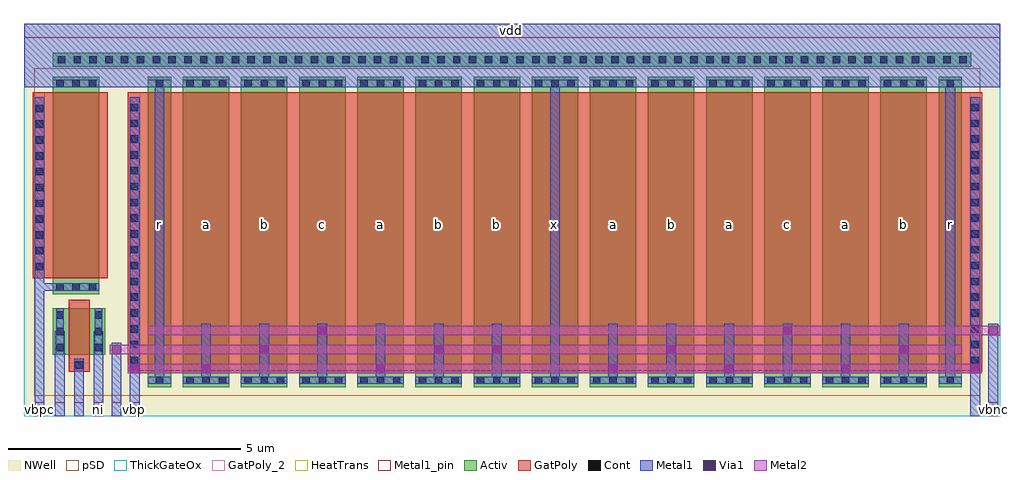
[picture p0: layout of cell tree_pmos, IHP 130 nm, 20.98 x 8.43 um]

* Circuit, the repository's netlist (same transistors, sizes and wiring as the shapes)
* SPDX-FileCopyrightText: 2026 Christoph Maier
* SPDX-License-Identifier: Apache-2.0
* tree_pmos: PMOS devices of bias_tree_noab_pd as drawn (generated by build_tree_pmos.py).
* Fingers of the same L in parallel; netgen merges them to the source netlist's devices:
*   BP 5 x 1/6 = 5/6, PBN 5 x 1/6 = 5/6, PBNC 2 x 1/6 = 2/6, MDBP 1/6 + 2 x 0.5/6 = 2/6, BPC 1/4, TGP 1/0.45.
* score (left to right): r a b c a b b x a b a c a b r
.subckt tree_pmos vdd vbp vbn vbnc vbpc iref ni en_3v3_b
XBPC vbpc vbpc vdd vdd sg13_hv_pmos w=1u l=4u ng=1
XTGP iref en_3v3_b ni vdd sg13_hv_pmos w=1u l=0.45u ng=1
XMDBP_rL vdd vbp vdd vdd sg13_hv_pmos w=0.5u l=6u ng=1
XBP_1 vbp vbp vdd vdd sg13_hv_pmos w=1u l=6u ng=1
XPBN_1 vbn vbp vdd vdd sg13_hv_pmos w=1u l=6u ng=1
XPBNC_1 vbnc vbp vdd vdd sg13_hv_pmos w=1u l=6u ng=1
XBP_2 vbp vbp vdd vdd sg13_hv_pmos w=1u l=6u ng=1
XPBN_2 vbn vbp vdd vdd sg13_hv_pmos w=1u l=6u ng=1
XPBN_3 vbn vbp vdd vdd sg13_hv_pmos w=1u l=6u ng=1
XMDBP_x vdd vbp vdd vdd sg13_hv_pmos w=1u l=6u ng=1
XBP_3 vbp vbp vdd vdd sg13_hv_pmos w=1u l=6u ng=1
XPBN_4 vbn vbp vdd vdd sg13_hv_pmos w=1u l=6u ng=1
XBP_4 vbp vbp vdd vdd sg13_hv_pmos w=1u l=6u ng=1
XPBNC_2 vbnc vbp vdd vdd sg13_hv_pmos w=1u l=6u ng=1
XBP_5 vbp vbp vdd vdd sg13_hv_pmos w=1u l=6u ng=1
XPBN_5 vbn vbp vdd vdd sg13_hv_pmos w=1u l=6u ng=1
XMDBP_rR vdd vbp vdd vdd sg13_hv_pmos w=0.5u l=6u ng=1
.ends tree_pmos

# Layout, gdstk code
from math import pi, radians
import gdstk
lib = gdstk.Library(unit=1e-6, precision=1e-09)
def R(c, l, rs):  # rectangles x0, y0, x1, y1
    for r in rs: c.add(gdstk.rectangle(r[:2], r[2:], *l))
def A(c, l, x, y, w, h, nx, ny, dx, dy):  # array of equal rectangles
    R(c, l, [(x+i*dx, y+j*dy, x+i*dx+w, y+j*dy+h) for i in range(nx) for j in range(ny)])
Activ = (1, 0)
GatPoly = (5, 0)
GatPoly_2 = (5, 2)
Cont = (6, 0)
Metal1 = (8, 0)
Metal1_pin = (8, 2)
Metal2 = (10, 0)
pSD = (14, 0)
Via1 = (19, 0)
NWell = (31, 0)
ThickGateOx = (44, 0)
HeatTrans = (51, 0)

tree_pmos_bpc_w1l4 = lib.new_cell('tree_pmos_bpc_w1l4')
R(tree_pmos_bpc_w1l4, Activ, [(0,0,0.3,0.3), (0,0,4.68,1), (4.38,0,4.68,0.3)])
R(tree_pmos_bpc_w1l4, GatPoly, [(0.34,-0.18,4.34,1.18)])
R(tree_pmos_bpc_w1l4, GatPoly_2, [(0.34,-0.18,4.34,1.18)])
A(tree_pmos_bpc_w1l4, Cont, 0.07, 0.07, 0.16, 0.16, 1, 3, 0, 0.35)
A(tree_pmos_bpc_w1l4, Cont, 4.45, 0.07, 0.16, 0.16, 1, 3, 0, 0.35)
R(tree_pmos_bpc_w1l4, Metal1, [(0.07,0,0.23,1), (4.45,0,4.61,1)])
R(tree_pmos_bpc_w1l4, Metal1_pin, [(0.07,0,0.23,1), (4.45,0,4.61,1)])
R(tree_pmos_bpc_w1l4, pSD, [(-0.18,-0.4,4.86,1.4)])
R(tree_pmos_bpc_w1l4, NWell, [(-0.62,-0.62,5.3,1.62)])
R(tree_pmos_bpc_w1l4, ThickGateOx, [(-0.62,-0.62,5.3,1.62)])
R(tree_pmos_bpc_w1l4, HeatTrans, [(0.34,-0.18,4.34,1.18)])
tree_pmos_bpc_w1l4.add(gdstk.Label('pmosHV', (2.34,0.5), layer=63, texttype=0))
tree_pmos_bpc_w1l4.add(gdstk.Label('pmos', (2.34,0.5), layer=51, texttype=0))

tree_pmos_tgp_w1l045 = lib.new_cell('tree_pmos_tgp_w1l045')
R(tree_pmos_tgp_w1l045, Activ, [(0,0,0.3,0.3), (0,0,1.13,1), (0.83,0,1.13,0.3)])
R(tree_pmos_tgp_w1l045, GatPoly, [(0.34,-0.18,0.79,1.18)])
R(tree_pmos_tgp_w1l045, GatPoly_2, [(0.34,-0.18,0.79,1.18)])
A(tree_pmos_tgp_w1l045, Cont, 0.07, 0.07, 0.16, 0.16, 1, 3, 0, 0.35)
A(tree_pmos_tgp_w1l045, Cont, 0.9, 0.07, 0.16, 0.16, 1, 3, 0, 0.35)
R(tree_pmos_tgp_w1l045, Metal1, [(0.07,0,0.23,1), (0.9,0,1.06,1)])
R(tree_pmos_tgp_w1l045, Metal1_pin, [(0.07,0,0.23,1), (0.9,0,1.06,1)])
R(tree_pmos_tgp_w1l045, pSD, [(-0.18,-0.4,1.31,1.4)])
R(tree_pmos_tgp_w1l045, NWell, [(-0.62,-0.62,1.75,1.62)])
R(tree_pmos_tgp_w1l045, ThickGateOx, [(-0.62,-0.62,1.75,1.62)])
R(tree_pmos_tgp_w1l045, HeatTrans, [(0.34,-0.18,0.79,1.18)])
tree_pmos_tgp_w1l045.add(gdstk.Label('pmosHV', (0.565,0.5), layer=63, texttype=0))
tree_pmos_tgp_w1l045.add(gdstk.Label('pmos', (0.565,0.5), layer=51, texttype=0))

tree_pmos_r05l6 = lib.new_cell('tree_pmos_r05l6')
R(tree_pmos_r05l6, Activ, [(0,0,0.3,0.3), (0,0,6.68,0.5), (6.38,0,6.68,0.3)])
R(tree_pmos_r05l6, GatPoly, [(0.34,-0.18,6.34,0.68)])
R(tree_pmos_r05l6, GatPoly_2, [(0.34,-0.18,6.34,0.68)])
R(tree_pmos_r05l6, Cont, [(0.07,0.17,0.23,0.33), (6.45,0.17,6.61,0.33)])
R(tree_pmos_r05l6, Metal1, [(0.07,0,0.23,0.5), (6.45,0,6.61,0.5)])
R(tree_pmos_r05l6, Metal1_pin, [(0.07,0,0.23,0.5), (6.45,0,6.61,0.5)])
R(tree_pmos_r05l6, pSD, [(-0.18,-0.4,6.86,0.9)])
R(tree_pmos_r05l6, NWell, [(-0.62,-0.62,7.3,1.12)])
R(tree_pmos_r05l6, ThickGateOx, [(-0.62,-0.62,7.3,1.12)])
R(tree_pmos_r05l6, HeatTrans, [(0.34,-0.18,6.34,0.68)])
tree_pmos_r05l6.add(gdstk.Label('pmosHV', (3.34,0.25), layer=63, texttype=0))
tree_pmos_r05l6.add(gdstk.Label('pmos', (3.34,0.25), layer=51, texttype=0))

tree_pmos_u1l6 = lib.new_cell('tree_pmos_u1l6')
R(tree_pmos_u1l6, Activ, [(0,0,0.3,0.3), (0,0,6.68,1), (6.38,0,6.68,0.3)])
R(tree_pmos_u1l6, GatPoly, [(0.34,-0.18,6.34,1.18)])
R(tree_pmos_u1l6, GatPoly_2, [(0.34,-0.18,6.34,1.18)])
A(tree_pmos_u1l6, Cont, 0.07, 0.07, 0.16, 0.16, 1, 3, 0, 0.35)
A(tree_pmos_u1l6, Cont, 6.45, 0.07, 0.16, 0.16, 1, 3, 0, 0.35)
R(tree_pmos_u1l6, Metal1, [(0.07,0,0.23,1), (6.45,0,6.61,1)])
R(tree_pmos_u1l6, Metal1_pin, [(0.07,0,0.23,1), (6.45,0,6.61,1)])
R(tree_pmos_u1l6, pSD, [(-0.18,-0.4,6.86,1.4)])
R(tree_pmos_u1l6, NWell, [(-0.62,-0.62,7.3,1.62)])
R(tree_pmos_u1l6, ThickGateOx, [(-0.62,-0.62,7.3,1.62)])
R(tree_pmos_u1l6, HeatTrans, [(0.34,-0.18,6.34,1.18)])
tree_pmos_u1l6.add(gdstk.Label('pmosHV', (3.34,0.5), layer=63, texttype=0))
tree_pmos_u1l6.add(gdstk.Label('pmos', (3.34,0.5), layer=51, texttype=0))

tree_pmos = lib.new_cell('tree_pmos')
R(tree_pmos, Activ, [(0.62,7.51,20.365,7.81)])
R(tree_pmos, GatPoly, [(0.96,0.95,1.41,1.14), (2.23,0.96,2.665,6.96), (20.165,0.96,20.6,6.96), (0.185,2.96,0.62,6.96)])
A(tree_pmos, Cont, 2.3, 1.115, 0.16, 0.16, 1, 17, 0, 0.34)
A(tree_pmos, Cont, 20.37, 1.115, 0.16, 0.16, 1, 17, 0, 0.34)
A(tree_pmos, Cont, 0.255, 3.135, 0.16, 0.16, 1, 11, 0, 0.34)
A(tree_pmos, Cont, 0.725, 7.58, 0.16, 0.16, 58, 1, 0.34, 0)
R(tree_pmos, Cont, [(1.105,1.02,1.265,1.18)])
A(tree_pmos, Metal1, 2.81, 0.69, 0.21, 6.54, 3, 1, 8.5, 0)
A(tree_pmos, Metal1, 3.81, 0.69, 0.21, 1.295, 6, 1, 1.25, 0)
A(tree_pmos, Metal1, 12.56, 0.69, 0.21, 1.295, 6, 1, 1.25, 0)
R(tree_pmos, Metal1, [(0.23,0,0.44,6.85), (0.665,0,0.875,1.82), (1.08,0,1.29,1.23), (1.495,0,1.705,1.82), (1.885,0,2.095,1.575), (2.275,0,2.485,6.85), (20.345,0,20.555,6.85), (20.735,0,20.945,1.985), (0.43,2.69,0.63,2.85), (0,7.07,20.985,8.43)])
A(tree_pmos, Metal1_pin, 0.665, 0, 0.21, 0.3, 3, 1, 0.415, 0)
R(tree_pmos, Metal1_pin, [(0.23,0,0.44,0.3), (1.885,0,2.095,0.3), (2.275,0,2.485,0.3), (20.735,0,20.945,0.3), (0,8.13,20.985,8.43)])
R(tree_pmos, Metal2, [(2.235,0.92,20.595,1.12), (1.845,1.33,20.165,1.53), (2.665,1.74,20.985,1.94)])
R(tree_pmos, pSD, [(0.22,0.44,20.565,7.48)])
A(tree_pmos, Via1, 12.57, 0.925, 0.19, 0.19, 3, 1, 2.5, 0)
R(tree_pmos, Via1, [(2.285,0.925,2.475,1.115), (3.82,0.925,4.01,1.115), (7.57,0.925,7.76,1.115), (20.355,0.925,20.545,1.115), (1.895,1.335,2.085,1.525), (5.07,1.335,5.26,1.525), (8.82,1.335,9.01,1.525), (10.07,1.335,10.26,1.525), (13.82,1.335,14.01,1.525), (18.82,1.335,19.01,1.525), (6.32,1.745,6.51,1.935), (16.32,1.745,16.51,1.935), (20.745,1.745,20.935,1.935)])
R(tree_pmos, NWell, [(0,0,20.985,8.43)])
R(tree_pmos, ThickGateOx, [(0,0,20.985,8.43)])
tree_pmos.add(gdstk.Reference(tree_pmos_bpc_w1l4, (0.62,7.3), rotation=3*pi/2))
tree_pmos.add(gdstk.Reference(tree_pmos_tgp_w1l045, (0.62,1.32)))
tree_pmos.add(gdstk.Reference(tree_pmos_r05l6, (2.665,7.3), rotation=3*pi/2))
tree_pmos.add(gdstk.Reference(tree_pmos_u1l6, (3.415,7.3), rotation=3*pi/2))
tree_pmos.add(gdstk.Reference(tree_pmos_u1l6, (4.665,7.3), rotation=3*pi/2))
tree_pmos.add(gdstk.Reference(tree_pmos_u1l6, (5.915,7.3), rotation=3*pi/2))
tree_pmos.add(gdstk.Reference(tree_pmos_u1l6, (7.165,7.3), rotation=3*pi/2))
tree_pmos.add(gdstk.Reference(tree_pmos_u1l6, (8.415,7.3), rotation=3*pi/2))
tree_pmos.add(gdstk.Reference(tree_pmos_u1l6, (9.665,7.3), rotation=3*pi/2))
tree_pmos.add(gdstk.Reference(tree_pmos_u1l6, (10.915,7.3), rotation=3*pi/2))
tree_pmos.add(gdstk.Reference(tree_pmos_u1l6, (12.165,7.3), rotation=3*pi/2))
tree_pmos.add(gdstk.Reference(tree_pmos_u1l6, (13.415,7.3), rotation=3*pi/2))
tree_pmos.add(gdstk.Reference(tree_pmos_u1l6, (14.665,7.3), rotation=3*pi/2))
tree_pmos.add(gdstk.Reference(tree_pmos_u1l6, (15.915,7.3), rotation=3*pi/2))
tree_pmos.add(gdstk.Reference(tree_pmos_u1l6, (17.165,7.3), rotation=3*pi/2))
tree_pmos.add(gdstk.Reference(tree_pmos_u1l6, (18.415,7.3), rotation=3*pi/2))
tree_pmos.add(gdstk.Reference(tree_pmos_r05l6, (19.665,7.3), rotation=3*pi/2))
tree_pmos.add(gdstk.Label('vbpc', (0.335,0.15), layer=8, texttype=25))
tree_pmos.add(gdstk.Label('iref', (0.77,0.15), layer=8, texttype=25))
tree_pmos.add(gdstk.Label('ni', (1.6,0.15), layer=8, texttype=25))
tree_pmos.add(gdstk.Label('en_3v3_b', (1.185,0.15), layer=8, texttype=25))
tree_pmos.add(gdstk.Label('vbp', (2.38,0.15), layer=8, texttype=25))
tree_pmos.add(gdstk.Label('vbn', (1.99,0.15), layer=8, texttype=25))
tree_pmos.add(gdstk.Label('vbnc', (20.84,0.15), layer=8, texttype=25))
tree_pmos.add(gdstk.Label('vdd', (10.49,8.28), layer=8, texttype=25))
tree_pmos.add(gdstk.Label('r', (2.915,4.12), layer=63, texttype=0))
tree_pmos.add(gdstk.Label('a', (3.915,4.12), layer=63, texttype=0))
tree_pmos.add(gdstk.Label('b', (5.165,4.12), layer=63, texttype=0))
tree_pmos.add(gdstk.Label('c', (6.415,4.12), layer=63, texttype=0))
tree_pmos.add(gdstk.Label('a', (7.665,4.12), layer=63, texttype=0))
tree_pmos.add(gdstk.Label('b', (8.915,4.12), layer=63, texttype=0))
tree_pmos.add(gdstk.Label('b', (10.165,4.12), layer=63, texttype=0))
tree_pmos.add(gdstk.Label('x', (11.415,4.12), layer=63, texttype=0))
tree_pmos.add(gdstk.Label('a', (12.665,4.12), layer=63, texttype=0))
tree_pmos.add(gdstk.Label('b', (13.915,4.12), layer=63, texttype=0))
tree_pmos.add(gdstk.Label('a', (15.165,4.12), layer=63, texttype=0))
tree_pmos.add(gdstk.Label('c', (16.415,4.12), layer=63, texttype=0))
tree_pmos.add(gdstk.Label('a', (17.665,4.12), layer=63, texttype=0))
tree_pmos.add(gdstk.Label('b', (18.915,4.12), layer=63, texttype=0))
tree_pmos.add(gdstk.Label('r', (19.915,4.12), layer=63, texttype=0))

lib.write_gds('tree_pmos.gds')
